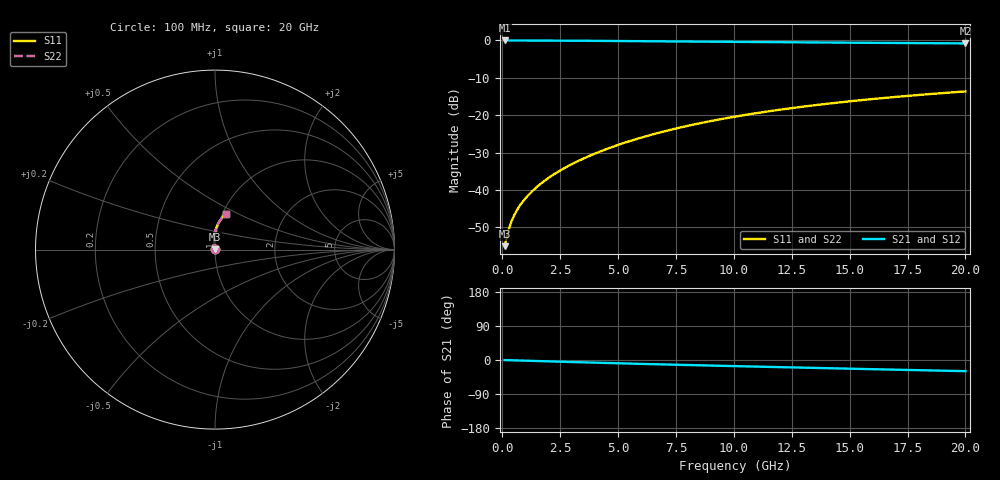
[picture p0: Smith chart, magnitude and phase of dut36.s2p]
! Touchstone file exported from HFSS 2024.1.0
!  File:  C:/UserFiles/LocalFiles/RDL_TSV_Batchsim/temp_RDL_bottom_36_1778692403.aedt
!  Generated:  01:15:37 AM May 14, 2026
!  Design:  RDL_bottom
!  Project:  temp_RDL_bottom_36_1778692403
!  Setup:  Setup1
!  Solution:  Sweep
! Variables:
!  dtsv = 10.80580581um
!  hbump = 3um
!  htsv = 71.65um
!  ldown = 473.25um
!  lrdl = 100um
!  p = 40
!  p1 = 44.09um
!  rhole = 1um
!  t = 450um
!  tdown = 4.73um
!  trdl = 3.915915916um
!  wdown = 27.46um
!  wrdl = 20um
# GHz S MA R 50.000000
! Terminal data exported
! Port[1] = RDL1_T1
! Port[2] = RDL1_T2
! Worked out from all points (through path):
!   200 points, 100 MHz to 20 GHz, reference 50 ohm
!   highest |S21| = -0.01 dB at 100 MHz (marker M1); lowest = -0.8 dB at 20 GHz (marker M2)
!   group delay of S21, straight-line fit = 4.02 ps
!   lowest |S11| = -55.1 dB at 100 MHz (marker M3), VSWR 1.00, Z = 50.2 + j0.0906 ohm
!   |S11| at or under -10 dB: start of sweep to end of sweep
!   |S22| runs from -55.1 to -13.7 dB; largest |S21 - S12| = 4e-15
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0.1  0.001764 30.8  0.9985 -0.2  0.9985 -0.2  0.001764 30.8
! Gamma 0 0 0 0
! Port Impedance 50 0 50 0
0.2  0.002389 47.7  0.9983 -0.4  0.9983 -0.4  0.002389 47.7
0.3  0.003101 56.2  0.9981 -0.6  0.9981 -0.6  0.003101 56.2
0.4  0.003807 61.1  0.998 -0.7  0.998 -0.7  0.003807 61.1
0.5  0.004487 64.5  0.9978 -0.9  0.9978 -0.9  0.004487 64.5
0.6  0.005146 67.1  0.9977 -1.1  0.9977 -1.1  0.005146 67.1
0.8  0.006428 71.3  0.9974 -1.5  0.9974 -1.5  0.006428 71.3
1.1  0.008347 76.2  0.9969 -2.0  0.9969 -2.0  0.008347 76.2
1.6  0.01167 82.0  0.9958 -2.9  0.9958 -2.9  0.01167 82.0
2.1  0.01519 85.9  0.9944 -3.8  0.9944 -3.8  0.01519 85.9
2.7  0.0197 89.2  0.9924 -4.8  0.9924 -4.8  0.01969 89.2
3.5  0.02621 92.0  0.989 -6.2  0.989 -6.2  0.0262 92.0
4.2  0.03238 93.5  0.9858 -7.4  0.9858 -7.4  0.03236 93.5
5  0.03992 94.4  0.9817 -8.7  0.9817 -8.7  0.03991 94.3
5.9  0.04898 94.6  0.977 -10.1  0.977 -10.1  0.04896 94.6
6.8  0.05854 94.3  0.9722 -11.5  0.9722 -11.5  0.0585 94.2
8.4  0.07641 92.7  0.9637 -13.8  0.9637 -13.8  0.07635 92.7
10.1  0.0961 90.3  0.9551 -16.3  0.9551 -16.3  0.09603 90.2
11.7  0.1149 87.6  0.9474 -18.5  0.9474 -18.5  0.1148 87.6
13.4  0.1347 84.7  0.9396 -20.8  0.9396 -20.8  0.1346 84.7
16.7  0.1722 79.0  0.9253 -25.2  0.9253 -25.2  0.172 78.9
20  0.2076 73.5  0.9117 -29.5  0.9117 -29.5  0.2074 73.4
